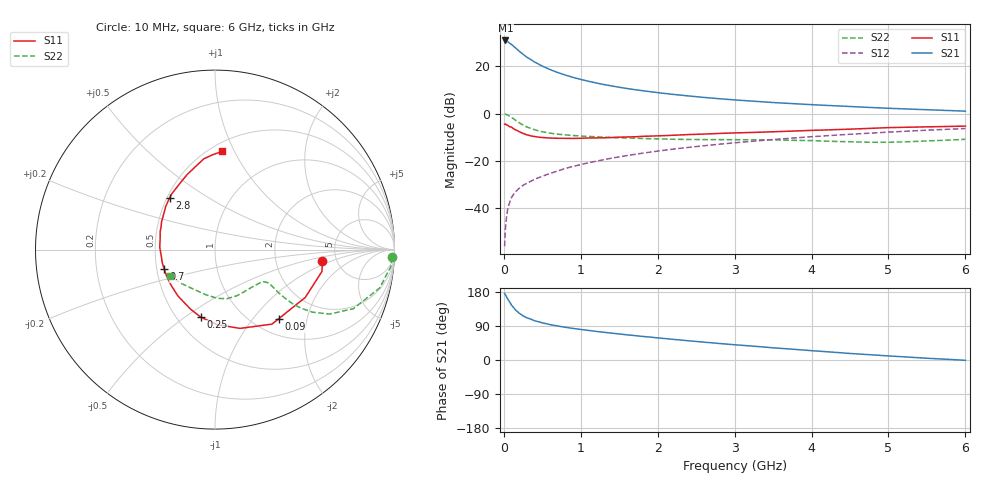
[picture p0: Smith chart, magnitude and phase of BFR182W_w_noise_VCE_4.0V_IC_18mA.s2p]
! Infineon Technologies  Discrete & RF Semiconductors
! BFR182W
! VCE =  4.0 V,  IC =  18 mA
! Common Emitter S-Parameters:  Jan 2017
# GHz  S  MA  R  50
!  f  S11  S21  S12  S22
! GHz  MAG  ANG  MAG  ANG  MAG  ANG  MAG  ANG
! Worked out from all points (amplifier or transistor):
!   77 points, 10 MHz to 6 GHz, reference 50 ohm
!   highest |S21| = 31.0 dB at 20 MHz (marker M1)
!   |S21| within 3 dB of that: start of sweep to 146.1 MHz
!   unconditionally stable (mu >= 1): 874.5 MHz to 2.39 GHz
!   at 130 MHz: K = 0.39, MSG = 31.1 dB, |S12| = -33.9 dB
!   at 2.2 GHz: K = 1.01, MAG = 10.9 dB, |S12| = -15.0 dB
!   at 6 GHz: K = 0.87, MSG = 3.7 dB, |S12| = -6.2 dB
!   lowest NFmin = 1.34 dB at 450 MHz
!   S11 on the Smith chart (normalised r, x): 10 MHz: 3.87, -0.74; 90 MHz: 1.28, -1.36; 250 MHz: 0.65, -0.58; 700 MHz: 0.55, -0.13; 2.8 GHz: 0.52, +0.35; 6 GHz: 0.57, +0.90
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0.01  0.6014 -5.8  35.09 175.7  0.0016 83.9  0.9873 -2.5
0.02  0.6083 -11.5  35.3 172.0  0.0037 92.2  0.9839 -5.5
0.05  0.5693 -27.9  33.32 160.7  0.0096 78.8  0.9422 -13.1
0.09  0.5238 -47.4  29.73 148.2  0.0156 71.9  0.8572 -20.9
0.1  0.5227 -52.6  29.09 144.6  0.0171 70.9  0.8387 -23.1
0.15  0.4605 -72.4  24.69 132.4  0.0223 66.1  0.732 -29.4
0.2  0.4182 -88.3  20.94 123.4  0.0268 64.1  0.6451 -32.7
0.25  0.385 -101.8  18 116.4  0.0309 63.3  0.5778 -34.3
0.3  0.3585 -112.4  15.62 111.3  0.0341 64.1  0.5254 -34.9
0.4  0.3306 -128.8  12.36 103.5  0.0413 64.0  0.4585 -34.6
0.5  0.315 -141.2  10.12 98.0  0.0479 65.7  0.4167 -33.9
0.6  0.3071 -151.2  8.584 93.5  0.0548 67.3  0.3897 -33.0
0.7  0.3032 -159.4  7.427 89.8  0.0619 68.2  0.3705 -32.4
0.9  0.3011 -172.2  5.854 83.3  0.0773 69.2  0.3472 -32.1
1.1  0.308 177.7  4.854 78.1  0.0923 69.8  0.3327 -32.9
1.5  0.3202 162.7  3.624 68.7  0.1229 68.9  0.3112 -36.4
2.1  0.3461 146.1  2.677 56.5  0.1707 65.9  0.2922 -46.5
2.8  0.3841 131.2  2.079 43.6  0.2273 61.3  0.2844 -61.9
3.1  0.3978 125.4  1.911 38.7  0.2519 58.9  0.2826 -68.3
4.1  0.4508 109.0  1.528 23.2  0.3355 50.4  0.2672 -90.2
5.1  0.5133 95.8  1.286 9.5  0.4173 40.9  0.2524 -122.2
6  0.5488 85.8  1.135 -0.8  0.4875 31.7  0.2892 -149.4
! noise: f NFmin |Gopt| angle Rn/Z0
0.45  1.34  0.07  174  0.15
0.9  1.41  0.08  179  0.15
1.9  1.93  0.27  -144  0.15
2.4  2.18  0.27  -129  0.24
